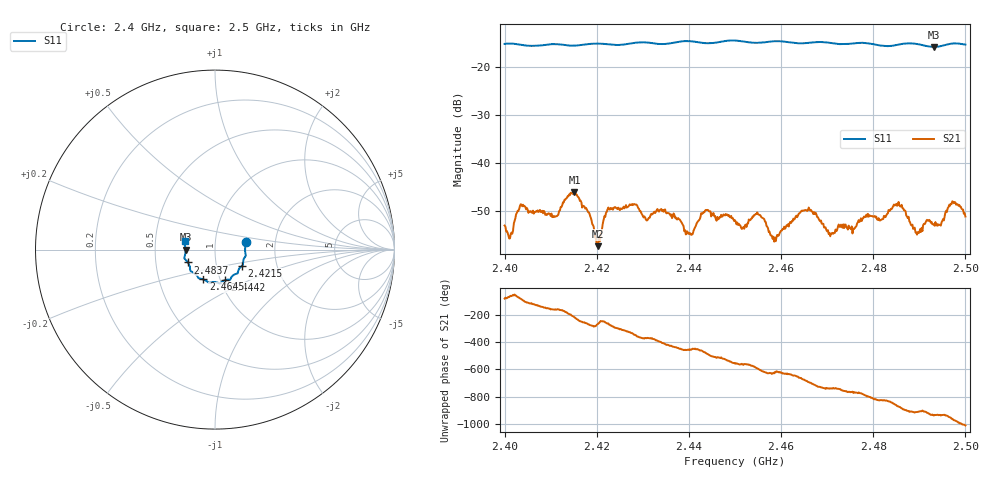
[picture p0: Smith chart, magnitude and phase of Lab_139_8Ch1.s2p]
# Hz S RI R 50
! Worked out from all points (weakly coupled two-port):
!   601 points, 2.4 GHz to 2.5 GHz, reference 50 ohm
!   highest |S21| = -46.11 dB at 2.4152 GHz (marker M1); lowest = -57.5 dB at 2.4202 GHz (marker M2)
!   lowest |S11| = -15.7 dB at 2.4932 GHz (marker M3), VSWR 1.39, Z = 35.9 - j0.0584 ohm
!   |S11| at or under -10 dB: start of sweep to end of sweep
!   S12 and S22 are empty: the file has one direction only
!   S11 on the Smith chart (normalised r, x): 2.4 GHz: 1.41, +0.12; 2.4215 GHz: 1.33, -0.25; 2.4442 GHz: 1.05, -0.37; 2.4645 GHz: 0.83, -0.29; 2.4837 GHz: 0.73, -0.11; 2.5 GHz: 0.71, +0.07
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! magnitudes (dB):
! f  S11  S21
! 2.4 GHz  -15.1  -53.1
! 2.4013 GHz  -15.0  -54.9
! 2.4038 GHz  -15.3  -49.1
! 2.4112 GHz  -15.2  -51.2
! 2.4152 GHz  -15.5  -46.1
! 2.4167 GHz  -15.3  -48.3
! 2.4202 GHz  -15.0  -57.5
! 2.4215 GHz  -15.1  -51.9
! 2.4333 GHz  -15.1  -50.1
! 2.4403 GHz  -14.5  -54.8
! 2.4442 GHz  -15.0  -49.9
! 2.45 GHz  -14.4  -52.0
! 2.455 GHz  -14.9  -50.8
! 2.4585 GHz  -14.5  -56.5
! 2.4645 GHz  -15.0  -50.0
! 2.4667 GHz  -14.8  -50.2
! 2.4708 GHz  -14.9  -54.8
! 2.4833 GHz  -15.6  -49.9
! 2.4837 GHz  -15.5  -50.0
! 2.4932 GHz  -15.7  -53.0
! 2.4973 GHz  -15.0  -48.2
! 2.5 GHz  -15.2  -51.3
